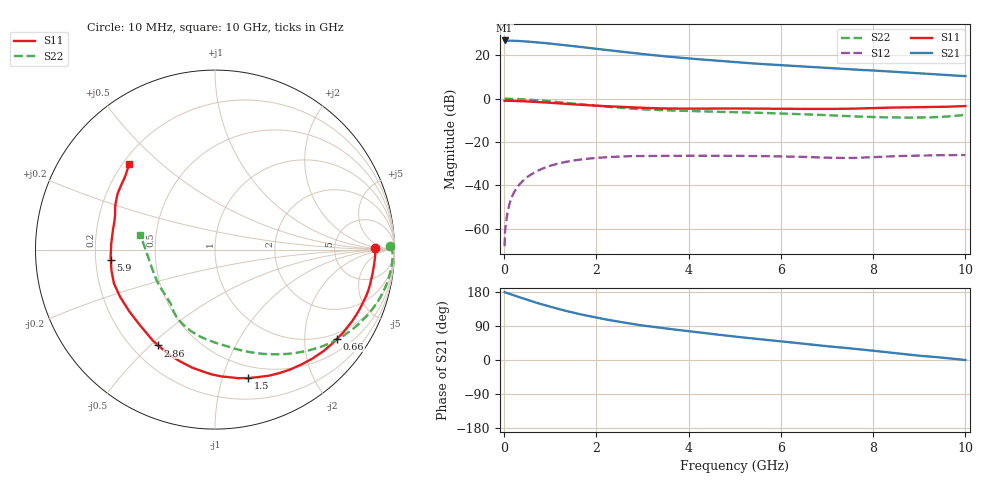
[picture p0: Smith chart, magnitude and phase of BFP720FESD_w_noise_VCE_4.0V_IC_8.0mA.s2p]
! Infineon Technologies  Discrete & RF Semiconductors
! BFP720FESD
! VCE =  4.0 V,  IC =  8.0 mA
! Common Emitter S-Parameters:  Jan 2016
# GHz  S  MA  R  50
!  f  S11  S21  S12  S22
! GHz  MAG  ANG  MAG  ANG  MAG  ANG  MAG  ANG
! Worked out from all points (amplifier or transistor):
!   233 points, 10 MHz to 10 GHz, reference 50 ohm
!   highest |S21| = 26.8 dB at 10 MHz (marker M1)
!   |S21| within 3 dB of that: start of sweep to 1.668 GHz
!   unconditionally stable (mu >= 1): start of sweep to 11.77 MHz; 6.651 GHz to end of sweep
!   at 200 MHz: K = 0.11, MSG = 35.2 dB, |S12| = -43.7 dB
!   at 1.74 GHz: K = 0.26, MSG = 25.7 dB, |S12| = -27.9 dB
!   at 10 GHz: K = 1.34, MAG = 14.7 dB, |S12| = -26.0 dB
!   lowest NFmin = 0.62 dB at 450 MHz
!   S11 on the Smith chart (normalised r, x): 10 MHz: 17, +1; 660 MHz: 0.83, -2.85; 1.5 GHz: 0.39, -1.22; 2.86 GHz: 0.30, -0.53; 5.9 GHz: 0.26, -0.05; 10 GHz: 0.23, +0.39
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0.01  0.8887 0.4  21.83 179.0  0.0004 44.7  0.9776 1.2
0.02  0.8932 -1.0  21.64 178.5  0.0009 61.1  0.9884 -0.5
0.04  0.8928 -2.1  21.55 177.7  0.0014 69.8  0.9898 -1.2
0.155  0.8877 -8.9  21.55 173.2  0.0051 78.9  0.9881 -5.6
0.3  0.8814 -16.9  21.28 166.9  0.0096 77.1  0.9774 -10.7
0.44  0.8676 -24.5  20.82 161.1  0.0138 73.5  0.9612 -15.4
0.66  0.8426 -36.1  19.98 152.6  0.02 67.5  0.9278 -22.6
0.9  0.8144 -48.2  18.95 143.9  0.0261 61.0  0.8861 -30.0
1.06  0.793 -55.9  18.21 138.6  0.0298 56.8  0.855 -34.8
1.28  0.7656 -66.1  17.21 131.5  0.034 51.4  0.8119 -41.0
1.5  0.7392 -75.5  16.2 125.0  0.0376 46.4  0.7692 -46.8
1.68  0.7178 -82.7  15.4 119.9  0.0399 42.7  0.736 -51.2
2.2  0.67 -100.9  13.26 107.2  0.0446 33.6  0.6557 -62.8
2.58  0.6396 -112.8  11.93 99.1  0.0467 28.1  0.6079 -70.4
2.86  0.6207 -120.6  11.04 93.6  0.0475 24.7  0.5791 -75.6
3.4  0.5959 -132.7  9.6 84.8  0.0479 20.3  0.543 -82.9
4.5  0.5908 -153.5  7.642 68.7  0.0486 14.2  0.5024 -95.7
5.1  0.5921 -162.9  6.81 60.6  0.048 11.8  0.4839 -102.5
5.9  0.5836 -174.3  5.979 50.5  0.0469 9.4  0.4583 -111.2
6.8  0.5779 172.0  5.23 39.0  0.0444 9.1  0.4243 -121.5
8.4  0.6214 151.6  4.194 19.2  0.0469 16.6  0.3698 -146.7
10  0.6742 135.3  3.297 -0.2  0.0503 15.3  0.4227 169.2
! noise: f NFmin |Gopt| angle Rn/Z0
0.45  0.62  0.38  3  0.13
2.4  0.71  0.25  30  0.13
5.5  0.86  0.32  112  0.09
10  1.34  0.28  -156  0.1
